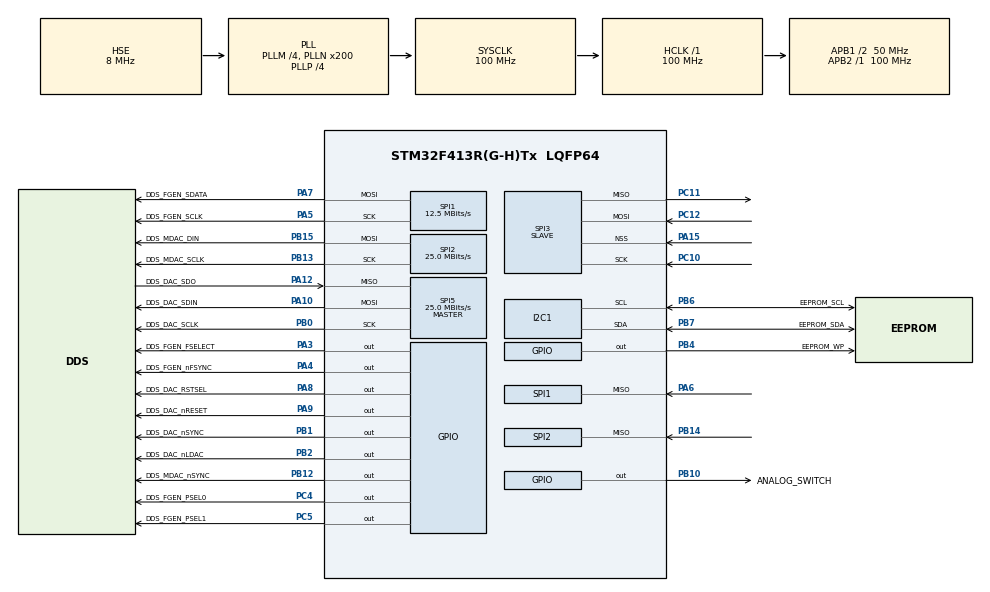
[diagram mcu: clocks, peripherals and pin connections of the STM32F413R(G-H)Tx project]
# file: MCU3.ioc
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Mcu.Family=STM32F4
Mcu.Name=STM32F413R(G-H)Tx
Mcu.Package=LQFP64
NVIC.PriorityGroup=NVIC_PRIORITYGROUP_4
NVIC.SPI3_IRQn=true\:0\:0\:false\:false\:true\:true\:true
PA10.GPIO_Label=DDS_DAC_SDIN
PA10.Mode=Full_Duplex_Master
PA10.Signal=SPI5_MOSI
PA12.GPIO_Label=DDS_DAC_SDO
PA12.Mode=Full_Duplex_Master
PA12.Signal=SPI5_MISO
PA13.Mode=Serial_Wire
PA13.Signal=SYS_JTMS-SWDIO
PA14.Mode=Serial_Wire
PA14.Signal=SYS_JTCK-SWCLK
PA15.Mode=NSS_Signal_Hard_Input
PA15.Signal=SPI3_NSS
PA3.GPIO_Label=DDS_FGEN_FSELECT
PA3.Signal=GPIO_Output
PA4.GPIO_Label=DDS_FGEN_nFSYNC
PA4.GPIO_Speed=GPIO_SPEED_FREQ_VERY_HIGH
PA4.PinState=GPIO_PIN_SET
PA4.Signal=GPIO_Output
PA5.GPIO_Label=DDS_FGEN_SCLK
PA5.Mode=Full_Duplex_Master
PA5.Signal=SPI1_SCK
PA6.Mode=Full_Duplex_Master
PA6.Signal=SPI1_MISO
PA7.GPIO_Label=DDS_FGEN_SDATA
PA7.Mode=Full_Duplex_Master
PA7.Signal=SPI1_MOSI
PA8.GPIO_Label=DDS_DAC_RSTSEL
PA8.Signal=GPIO_Output
PA9.GPIO_Label=DDS_DAC_nRESET
PA9.PinState=GPIO_PIN_SET
PA9.Signal=GPIO_Output
PB0.GPIO_Label=DDS_DAC_SCLK
PB0.Mode=Full_Duplex_Master
PB0.Signal=SPI5_SCK
PB1.GPIO_Label=DDS_DAC_nSYNC
PB1.GPIO_PuPd=GPIO_NOPULL
PB1.GPIO_Speed=GPIO_SPEED_FREQ_VERY_HIGH
PB1.PinState=GPIO_PIN_SET
PB1.Signal=GPIO_Output
PB10.GPIO_Label=ANALOG_SWITCH
PB10.Signal=GPIO_Output
PB12.GPIO_Label=DDS_MDAC_nSYNC
PB12.GPIO_Speed=GPIO_SPEED_FREQ_VERY_HIGH
PB12.PinState=GPIO_PIN_SET
PB12.Signal=GPIO_Output
PB13.GPIO_Label=DDS_MDAC_SCLK
PB13.Mode=Full_Duplex_Master
PB13.Signal=SPI2_SCK
PB14.Mode=Full_Duplex_Master
PB14.Signal=SPI2_MISO
PB15.GPIO_Label=DDS_MDAC_DIN
PB15.Mode=Full_Duplex_Master
PB15.Signal=SPI2_MOSI
PB2.GPIO_Label=DDS_DAC_nLDAC
PB2.PinState=GPIO_PIN_SET
PB2.Signal=GPIO_Output
PB4.GPIO_Label=EEPROM_WP
PB4.PinState=GPIO_PIN_SET
PB4.Signal=GPIO_Output
PB6.GPIO_Label=EEPROM_SCL
PB6.Mode=I2C
PB6.Signal=I2C1_SCL
PB7.GPIO_Label=EEPROM_SDA
PB7.Mode=I2C
PB7.Signal=I2C1_SDA
PC10.Mode=Full_Duplex_Slave
PC10.Signal=SPI3_SCK
PC11.Mode=Full_Duplex_Slave
PC11.Signal=SPI3_MISO
PC12.Mode=Full_Duplex_Slave
PC12.Signal=SPI3_MOSI
PC4.GPIO_Label=DDS_FGEN_PSEL0
PC4.Signal=GPIO_Output
PC5.GPIO_Label=DDS_FGEN_PSEL1
PC5.Signal=GPIO_Output
PH0\ -\ OSC_IN.Mode=HSE-External-Oscillator
PH0\ -\ OSC_IN.Signal=RCC_OSC_IN
PH1\ -\ OSC_OUT.Mode=HSE-External-Oscillator
PH1\ -\ OSC_OUT.Signal=RCC_OSC_OUT
ProjectManager.HeapSize=0x200
ProjectManager.StackSize=0x400
ProjectManager.TargetToolchain=STM32CubeIDE
RCC.AHBFreq_Value=100000000
RCC.APB1CLKDivider=RCC_HCLK_DIV2
RCC.APB1Freq_Value=50000000
RCC.APB1TimFreq_Value=100000000
RCC.APB2Freq_Value=100000000
RCC.APB2TimFreq_Value=100000000
RCC.CortexFreq_Value=100000000
RCC.HCLKFreq_Value=100000000
RCC.HSE_VALUE=8000000
RCC.PLLM=4
RCC.PLLN=200
RCC.PLLP=RCC_PLLP_DIV4
RCC.PLLSourceVirtual=RCC_PLLSOURCE_HSE
RCC.SYSCLKFreq_VALUE=100000000
RCC.SYSCLKSource=RCC_SYSCLKSOURCE_PLLCLK
RCC.USBFreq_Value=200000000
RCC.VCOOutputFreq_Value=400000000
SPI1.BaudRatePrescaler=SPI_BAUDRATEPRESCALER_8
SPI1.CLKPhase=SPI_PHASE_2EDGE
SPI1.CalculateBaudRate=12.5 MBits/s
SPI1.DataSize=SPI_DATASIZE_16BIT
SPI1.Direction=SPI_DIRECTION_2LINES
SPI1.Mode=SPI_MODE_MASTER
SPI1.TIMode=SPI_TIMODE_DISABLE
SPI1.VirtualType=VM_MASTER
SPI2.CLKPhase=SPI_PHASE_2EDGE
SPI2.CalculateBaudRate=25.0 MBits/s
SPI2.DataSize=SPI_DATASIZE_16BIT
SPI2.Direction=SPI_DIRECTION_2LINES
SPI2.Mode=SPI_MODE_MASTER
SPI2.VirtualType=VM_MASTER
SPI3.Direction=SPI_DIRECTION_2LINES
SPI3.Mode=SPI_MODE_SLAVE
SPI3.VirtualNSS=VM_NSSHARD
SPI3.VirtualType=VM_SLAVE
SPI5.BaudRatePrescaler=SPI_BAUDRATEPRESCALER_4
SPI5.CLKPhase=SPI_PHASE_2EDGE
SPI5.CalculateBaudRate=25.0 MBits/s
SPI5.Direction=SPI_DIRECTION_2LINES
SPI5.Mode=SPI_MODE_MASTER
SPI5.VirtualType=VM_MASTER
board=custom

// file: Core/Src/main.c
/* USER CODE BEGIN Header */
/**
  ******************************************************************************
  * @file           : main.c
  * @brief          : Main program body
  ******************************************************************************
  * @attention
  *
  * <h2><center>&copy; Copyright (c) 2020 STMicroelectronics.
  * All rights reserved.</center></h2>
  *
  * This software component is licensed by ST under BSD 3-Clause license,
  * the "License"; You may not use this file except in compliance with the
  * License. You may obtain a copy of the License at:
  *                        opensource.org/licenses/BSD-3-Clause
  *
  ******************************************************************************
  */
/* USER CODE END Header */

#include "main.h"

/* USER CODE BEGIN Includes */
#include "DG419.h"
#include "AD9835.h"
#include "AD5453.h"
#include "scpi_def.h"
/* USER CODE END Includes */

I2C_HandleTypeDef hi2c1;

SPI_HandleTypeDef hspi1;
SPI_HandleTypeDef hspi2;
SPI_HandleTypeDef hspi3;
SPI_HandleTypeDef hspi5;

/* USER CODE BEGIN PV */

/* Buffer used for reception */
uint8_t SPI3_RxBuffer[SPI3_BUFFERSIZE] = {[0 ... SPI3_BUFFERSIZE - 1] = '\0'};
__IO uint32_t SPI3_ReceiveIndex  = 0;

/* USER CODE END PV */

void SystemClock_Config(void);
static void MX_GPIO_Init(void);
static void MX_I2C1_Init(void);
static void MX_SPI1_Init(void);
static void MX_SPI2_Init(void);
static void MX_SPI3_Init(void);
static void MX_SPI5_Init(void);

int main(void)
{
  /* USER CODE BEGIN 1 */
	HAL_StatusTypeDef error;
  /* USER CODE END 1 */

  /* MCU Configuration--------------------------------------------------------*/

  /* Reset of all peripherals, Initializes the Flash interface and the Systick. */
  HAL_Init();

  /* Configure the system clock */
  SystemClock_Config();

  /* Initialize all configured peripherals */
  MX_GPIO_Init();
  MX_I2C1_Init();
  MX_SPI1_Init();
  MX_SPI2_Init();
  MX_SPI3_Init();
  MX_SPI5_Init();
  /* USER CODE BEGIN 2 */

  AD9835_Init();
  AD5689_Init();

  SCPI_Init(&scpi_context,
          scpi_commands,
          &scpi_interface,
          scpi_units_def,
          SCPI_IDN1, SCPI_IDN2, SCPI_IDN3, SCPI_IDN4,
          scpi_input_buffer, SCPI_INPUT_BUFFER_LENGTH,
          scpi_error_queue_data, SCPI_ERROR_QUEUE_SIZE);

  /* USER CODE END 2 */
	AD9835_FrequencyRegister(AD9835_FREQ0, 1000);
	AD9835_FrequencyRegisterSelect(AD9835_FREQ0);
	AD9835_Output(AD9835_ON);
	AD5453_SetVoltage(0.125);
	DG419_Switch(1);
  /* Infinite loop */
  while (1)
  {

    /* USER CODE BEGIN 3 */

	  if(HAL_OK == HAL_SPI_Receive_IT(&hspi3, &SPI3_RxBuffer, SPI3_BUFFERSIZE-1))
	  {
		  if(SPI3_ReceiveIndex == (SPI3_BUFFERSIZE-1))
	    	{
	    		SCPI_Input(&scpi_context, SPI3_RxBuffer, SPI3_ReceiveIndex);
	    		SPI3_ReceiveIndex = 0;
	    	}
	  }
  }
  /* USER CODE END 3 */
}

void SystemClock_Config(void)
{
  RCC_OscInitTypeDef RCC_OscInitStruct = {0};
  RCC_ClkInitTypeDef RCC_ClkInitStruct = {0};

  /** Configure the main internal regulator output voltage
  */
  __HAL_RCC_PWR_CLK_ENABLE();
  __HAL_PWR_VOLTAGESCALING_CONFIG(PWR_REGULATOR_VOLTAGE_SCALE1);
  /** Initializes the CPU, AHB and APB busses clocks
  */
  RCC_OscInitStruct.OscillatorType = RCC_OSCILLATORTYPE_HSE;
  RCC_OscInitStruct.HSEState = RCC_HSE_ON;
  RCC_OscInitStruct.PLL.PLLState = RCC_PLL_ON;
  RCC_OscInitStruct.PLL.PLLSource = RCC_PLLSOURCE_HSE;
  RCC_OscInitStruct.PLL.PLLM = 4;
  RCC_OscInitStruct.PLL.PLLN = 200;
  RCC_OscInitStruct.PLL.PLLP = RCC_PLLP_DIV4;
  RCC_OscInitStruct.PLL.PLLQ = 2;
  RCC_OscInitStruct.PLL.PLLR = 2;
  if (HAL_RCC_OscConfig(&RCC_OscInitStruct) != HAL_OK)
  {
    Error_Handler();
  }
  /** Initializes the CPU, AHB and APB busses clocks
  */
  RCC_ClkInitStruct.ClockType = RCC_CLOCKTYPE_HCLK|RCC_CLOCKTYPE_SYSCLK
                              |RCC_CLOCKTYPE_PCLK1|RCC_CLOCKTYPE_PCLK2;
  RCC_ClkInitStruct.SYSCLKSource = RCC_SYSCLKSOURCE_PLLCLK;
  RCC_ClkInitStruct.AHBCLKDivider = RCC_SYSCLK_DIV1;
  RCC_ClkInitStruct.APB1CLKDivider = RCC_HCLK_DIV2;
  RCC_ClkInitStruct.APB2CLKDivider = RCC_HCLK_DIV1;

  if (HAL_RCC_ClockConfig(&RCC_ClkInitStruct, FLASH_LATENCY_3) != HAL_OK)
  {
    Error_Handler();
  }
}

static void MX_I2C1_Init(void)
{

  hi2c1.Instance = I2C1;
  hi2c1.Init.ClockSpeed = 100000;
  hi2c1.Init.DutyCycle = I2C_DUTYCYCLE_2;
  hi2c1.Init.OwnAddress1 = 0;
  hi2c1.Init.AddressingMode = I2C_ADDRESSINGMODE_7BIT;
  hi2c1.Init.DualAddressMode = I2C_DUALADDRESS_DISABLE;
  hi2c1.Init.OwnAddress2 = 0;
  hi2c1.Init.GeneralCallMode = I2C_GENERALCALL_DISABLE;
  hi2c1.Init.NoStretchMode = I2C_NOSTRETCH_DISABLE;
  if (HAL_I2C_Init(&hi2c1) != HAL_OK)
  {
    Error_Handler();
  }

}

static void MX_SPI1_Init(void)
{

  /* SPI1 parameter configuration*/
  hspi1.Instance = SPI1;
  hspi1.Init.Mode = SPI_MODE_MASTER;
  hspi1.Init.Direction = SPI_DIRECTION_2LINES;
  hspi1.Init.DataSize = SPI_DATASIZE_16BIT;
  hspi1.Init.CLKPolarity = SPI_POLARITY_LOW;
  hspi1.Init.CLKPhase = SPI_PHASE_2EDGE;
  hspi1.Init.NSS = SPI_NSS_SOFT;
  hspi1.Init.BaudRatePrescaler = SPI_BAUDRATEPRESCALER_8;
  hspi1.Init.FirstBit = SPI_FIRSTBIT_MSB;
  hspi1.Init.TIMode = SPI_TIMODE_DISABLE;
  hspi1.Init.CRCCalculation = SPI_CRCCALCULATION_DISABLE;
  hspi1.Init.CRCPolynomial = 10;
  if (HAL_SPI_Init(&hspi1) != HAL_OK)
  {
    Error_Handler();
  }

}

static void MX_SPI2_Init(void)
{

  /* SPI2 parameter configuration*/
  hspi2.Instance = SPI2;
  hspi2.Init.Mode = SPI_MODE_MASTER;
  hspi2.Init.Direction = SPI_DIRECTION_2LINES;
  hspi2.Init.DataSize = SPI_DATASIZE_16BIT;
  hspi2.Init.CLKPolarity = SPI_POLARITY_LOW;
  hspi2.Init.CLKPhase = SPI_PHASE_2EDGE;
  hspi2.Init.NSS = SPI_NSS_SOFT;
  hspi2.Init.BaudRatePrescaler = SPI_BAUDRATEPRESCALER_2;
  hspi2.Init.FirstBit = SPI_FIRSTBIT_MSB;
  hspi2.Init.TIMode = SPI_TIMODE_DISABLE;
  hspi2.Init.CRCCalculation = SPI_CRCCALCULATION_DISABLE;
  hspi2.Init.CRCPolynomial = 10;
  if (HAL_SPI_Init(&hspi2) != HAL_OK)
  {
    Error_Handler();
  }

}

static void MX_SPI3_Init(void)
{

  /* SPI3 parameter configuration*/
  hspi3.Instance = SPI3;
  hspi3.Init.Mode = SPI_MODE_SLAVE;
  hspi3.Init.Direction = SPI_DIRECTION_2LINES;
  hspi3.Init.DataSize = SPI_DATASIZE_8BIT;
  hspi3.Init.CLKPolarity = SPI_POLARITY_LOW;
  hspi3.Init.CLKPhase = SPI_PHASE_1EDGE;
  hspi3.Init.NSS = SPI_NSS_HARD_INPUT;
  hspi3.Init.FirstBit = SPI_FIRSTBIT_MSB;
  hspi3.Init.TIMode = SPI_TIMODE_DISABLE;
  hspi3.Init.CRCCalculation = SPI_CRCCALCULATION_DISABLE;
  hspi3.Init.CRCPolynomial = 10;
  if (HAL_SPI_Init(&hspi3) != HAL_OK)
  {
    Error_Handler();
  }

}

static void MX_SPI5_Init(void)
{

  /* SPI5 parameter configuration*/
  hspi5.Instance = SPI5;
  hspi5.Init.Mode = SPI_MODE_MASTER;
  hspi5.Init.Direction = SPI_DIRECTION_2LINES;
  hspi5.Init.DataSize = SPI_DATASIZE_8BIT;
  hspi5.Init.CLKPolarity = SPI_POLARITY_LOW;
  hspi5.Init.CLKPhase = SPI_PHASE_2EDGE;
  hspi5.Init.NSS = SPI_NSS_SOFT;
  hspi5.Init.BaudRatePrescaler = SPI_BAUDRATEPRESCALER_4;
  hspi5.Init.FirstBit = SPI_FIRSTBIT_MSB;
  hspi5.Init.TIMode = SPI_TIMODE_DISABLE;
  hspi5.Init.CRCCalculation = SPI_CRCCALCULATION_DISABLE;
  hspi5.Init.CRCPolynomial = 10;
  if (HAL_SPI_Init(&hspi5) != HAL_OK)
  {
    Error_Handler();
  }

}

static void MX_GPIO_Init(void)
{
  GPIO_InitTypeDef GPIO_InitStruct = {0};

  /* GPIO Ports Clock Enable */
  __HAL_RCC_GPIOH_CLK_ENABLE();
  __HAL_RCC_GPIOA_CLK_ENABLE();
  __HAL_RCC_GPIOC_CLK_ENABLE();
  __HAL_RCC_GPIOB_CLK_ENABLE();

  /*Configure GPIO pin Output Level */
  HAL_GPIO_WritePin(GPIOA, DDS_FGEN_FSELECT_Pin|DDS_DAC_RSTSEL_Pin, GPIO_PIN_RESET);

  /*Configure GPIO pin Output Level */
  HAL_GPIO_WritePin(GPIOA, DDS_FGEN_nFSYNC_Pin|DDS_DAC_nRESET_Pin, GPIO_PIN_SET);

  /*Configure GPIO pin Output Level */
  HAL_GPIO_WritePin(GPIOC, DDS_FGEN_PSEL0_Pin|DDS_FGEN_PSEL1_Pin, GPIO_PIN_RESET);

  /*Configure GPIO pin Output Level */
  HAL_GPIO_WritePin(GPIOB, DDS_DAC_nSYNC_Pin|DDS_DAC_nLDAC_Pin|DDS_MDAC_nSYNC_Pin|EEPROM_WP_Pin, GPIO_PIN_SET);

  /*Configure GPIO pin Output Level */
  HAL_GPIO_WritePin(ANALOG_SWITCH_GPIO_Port, ANALOG_SWITCH_Pin, GPIO_PIN_RESET);

  /*Configure GPIO pins : DDS_FGEN_FSELECT_Pin DDS_DAC_RSTSEL_Pin DDS_DAC_nRESET_Pin */
  GPIO_InitStruct.Pin = DDS_FGEN_FSELECT_Pin|DDS_DAC_RSTSEL_Pin|DDS_DAC_nRESET_Pin;
  GPIO_InitStruct.Mode = GPIO_MODE_OUTPUT_PP;
  GPIO_InitStruct.Pull = GPIO_NOPULL;
  GPIO_InitStruct.Speed = GPIO_SPEED_FREQ_LOW;
  HAL_GPIO_Init(GPIOA, &GPIO_InitStruct);

  /*Configure GPIO pin : DDS_FGEN_nFSYNC_Pin */
  GPIO_InitStruct.Pin = DDS_FGEN_nFSYNC_Pin;
  GPIO_InitStruct.Mode = GPIO_MODE_OUTPUT_PP;
  GPIO_InitStruct.Pull = GPIO_NOPULL;
  GPIO_InitStruct.Speed = GPIO_SPEED_FREQ_VERY_HIGH;
  HAL_GPIO_Init(DDS_FGEN_nFSYNC_GPIO_Port, &GPIO_InitStruct);

  /*Configure GPIO pins : DDS_FGEN_PSEL0_Pin DDS_FGEN_PSEL1_Pin */
  GPIO_InitStruct.Pin = DDS_FGEN_PSEL0_Pin|DDS_FGEN_PSEL1_Pin;
  GPIO_InitStruct.Mode = GPIO_MODE_OUTPUT_PP;
  GPIO_InitStruct.Pull = GPIO_NOPULL;
  GPIO_InitStruct.Speed = GPIO_SPEED_FREQ_LOW;
  HAL_GPIO_Init(GPIOC, &GPIO_InitStruct);

  /*Configure GPIO pins : DDS_DAC_nSYNC_Pin DDS_MDAC_nSYNC_Pin */
  GPIO_InitStruct.Pin = DDS_DAC_nSYNC_Pin|DDS_MDAC_nSYNC_Pin;
  GPIO_InitStruct.Mode = GPIO_MODE_OUTPUT_PP;
  GPIO_InitStruct.Pull = GPIO_NOPULL;
  GPIO_InitStruct.Speed = GPIO_SPEED_FREQ_VERY_HIGH;
  HAL_GPIO_Init(GPIOB, &GPIO_InitStruct);

  /*Configure GPIO pins : DDS_DAC_nLDAC_Pin ANALOG_SWITCH_Pin EEPROM_WP_Pin */
  GPIO_InitStruct.Pin = DDS_DAC_nLDAC_Pin|ANALOG_SWITCH_Pin|EEPROM_WP_Pin;
  GPIO_InitStruct.Mode = GPIO_MODE_OUTPUT_PP;
  GPIO_InitStruct.Pull = GPIO_NOPULL;
  GPIO_InitStruct.Speed = GPIO_SPEED_FREQ_LOW;
  HAL_GPIO_Init(GPIOB, &GPIO_InitStruct);

}

void Error_Handler(void)
{
}

/************************ (C) COPYRIGHT STMicroelectronics *****END OF FILE****/
